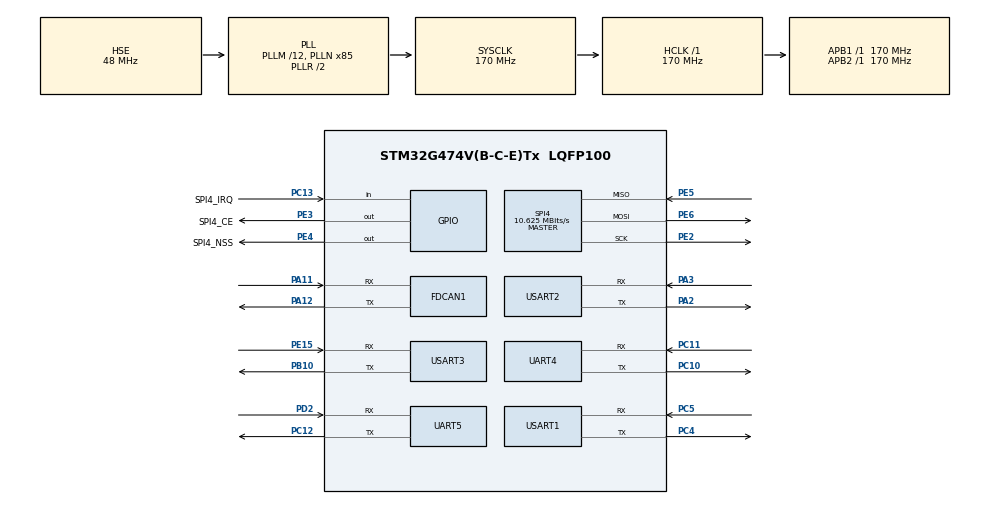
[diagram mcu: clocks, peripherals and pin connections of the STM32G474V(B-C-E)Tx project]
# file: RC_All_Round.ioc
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Dma.Request0=USART2_RX
Dma.Request1=USART2_TX
Dma.Request2=USART1_RX
Dma.Request3=USART1_TX
Dma.Request4=UART4_RX
Dma.Request5=UART4_TX
Dma.Request6=UART5_RX
Dma.UART4_RX.4.Direction=DMA_PERIPH_TO_MEMORY
Dma.UART4_RX.4.EventEnable=DISABLE
Dma.UART4_RX.4.Instance=DMA1_Channel5
Dma.UART4_RX.4.MemDataAlignment=DMA_MDATAALIGN_BYTE
Dma.UART4_RX.4.MemInc=DMA_MINC_ENABLE
Dma.UART4_RX.4.Mode=DMA_CIRCULAR
Dma.UART4_RX.4.PeriphDataAlignment=DMA_PDATAALIGN_BYTE
Dma.UART4_RX.4.PeriphInc=DMA_PINC_DISABLE
Dma.UART4_RX.4.Polarity=HAL_DMAMUX_REQ_GEN_RISING
Dma.UART4_RX.4.Priority=DMA_PRIORITY_LOW
Dma.UART4_RX.4.RequestNumber=1
Dma.UART4_RX.4.SignalID=NONE
Dma.UART4_RX.4.SyncEnable=DISABLE
Dma.UART4_RX.4.SyncPolarity=HAL_DMAMUX_SYNC_NO_EVENT
Dma.UART4_RX.4.SyncRequestNumber=1
Dma.UART4_RX.4.SyncSignalID=NONE
Dma.UART4_TX.5.Direction=DMA_MEMORY_TO_PERIPH
Dma.UART4_TX.5.EventEnable=DISABLE
Dma.UART4_TX.5.Instance=DMA1_Channel6
Dma.UART4_TX.5.MemDataAlignment=DMA_MDATAALIGN_BYTE
Dma.UART4_TX.5.MemInc=DMA_MINC_ENABLE
Dma.UART4_TX.5.Mode=DMA_NORMAL
Dma.UART4_TX.5.PeriphDataAlignment=DMA_PDATAALIGN_BYTE
Dma.UART4_TX.5.PeriphInc=DMA_PINC_DISABLE
Dma.UART4_TX.5.Polarity=HAL_DMAMUX_REQ_GEN_RISING
Dma.UART4_TX.5.Priority=DMA_PRIORITY_LOW
Dma.UART4_TX.5.RequestNumber=1
Dma.UART4_TX.5.SignalID=NONE
Dma.UART4_TX.5.SyncEnable=DISABLE
Dma.UART4_TX.5.SyncPolarity=HAL_DMAMUX_SYNC_NO_EVENT
Dma.UART4_TX.5.SyncRequestNumber=1
Dma.UART4_TX.5.SyncSignalID=NONE
Dma.UART5_RX.6.Direction=DMA_PERIPH_TO_MEMORY
Dma.UART5_RX.6.EventEnable=DISABLE
Dma.UART5_RX.6.Instance=DMA1_Channel7
Dma.UART5_RX.6.MemDataAlignment=DMA_MDATAALIGN_BYTE
Dma.UART5_RX.6.MemInc=DMA_MINC_ENABLE
Dma.UART5_RX.6.Mode=DMA_CIRCULAR
Dma.UART5_RX.6.PeriphDataAlignment=DMA_PDATAALIGN_BYTE
Dma.UART5_RX.6.PeriphInc=DMA_PINC_DISABLE
Dma.UART5_RX.6.Polarity=HAL_DMAMUX_REQ_GEN_RISING
Dma.UART5_RX.6.Priority=DMA_PRIORITY_LOW
Dma.UART5_RX.6.RequestNumber=1
Dma.UART5_RX.6.SignalID=NONE
Dma.UART5_RX.6.SyncEnable=DISABLE
Dma.UART5_RX.6.SyncPolarity=HAL_DMAMUX_SYNC_NO_EVENT
Dma.UART5_RX.6.SyncRequestNumber=1
Dma.UART5_RX.6.SyncSignalID=NONE
Dma.USART1_RX.2.Direction=DMA_PERIPH_TO_MEMORY
Dma.USART1_RX.2.EventEnable=DISABLE
Dma.USART1_RX.2.Instance=DMA1_Channel1
Dma.USART1_RX.2.MemDataAlignment=DMA_MDATAALIGN_BYTE
Dma.USART1_RX.2.MemInc=DMA_MINC_ENABLE
Dma.USART1_RX.2.Mode=DMA_CIRCULAR
Dma.USART1_RX.2.PeriphDataAlignment=DMA_PDATAALIGN_BYTE
Dma.USART1_RX.2.PeriphInc=DMA_PINC_DISABLE
Dma.USART1_RX.2.Polarity=HAL_DMAMUX_REQ_GEN_RISING
Dma.USART1_RX.2.Priority=DMA_PRIORITY_LOW
Dma.USART1_RX.2.RequestNumber=1
Dma.USART1_RX.2.SignalID=NONE
Dma.USART1_RX.2.SyncEnable=DISABLE
Dma.USART1_RX.2.SyncPolarity=HAL_DMAMUX_SYNC_NO_EVENT
Dma.USART1_RX.2.SyncRequestNumber=1
Dma.USART1_RX.2.SyncSignalID=NONE
Dma.USART1_TX.3.Direction=DMA_MEMORY_TO_PERIPH
Dma.USART1_TX.3.EventEnable=DISABLE
Dma.USART1_TX.3.Instance=DMA1_Channel2
Dma.USART1_TX.3.MemDataAlignment=DMA_MDATAALIGN_BYTE
Dma.USART1_TX.3.MemInc=DMA_MINC_ENABLE
Dma.USART1_TX.3.Mode=DMA_NORMAL
Dma.USART1_TX.3.PeriphDataAlignment=DMA_PDATAALIGN_BYTE
Dma.USART1_TX.3.PeriphInc=DMA_PINC_DISABLE
Dma.USART1_TX.3.Polarity=HAL_DMAMUX_REQ_GEN_RISING
Dma.USART1_TX.3.Priority=DMA_PRIORITY_LOW
Dma.USART1_TX.3.RequestNumber=1
Dma.USART1_TX.3.SignalID=NONE
Dma.USART1_TX.3.SyncEnable=DISABLE
Dma.USART1_TX.3.SyncPolarity=HAL_DMAMUX_SYNC_NO_EVENT
Dma.USART1_TX.3.SyncRequestNumber=1
Dma.USART1_TX.3.SyncSignalID=NONE
Dma.USART2_RX.0.Direction=DMA_PERIPH_TO_MEMORY
Dma.USART2_RX.0.EventEnable=DISABLE
Dma.USART2_RX.0.Instance=DMA1_Channel3
Dma.USART2_RX.0.MemDataAlignment=DMA_MDATAALIGN_BYTE
Dma.USART2_RX.0.MemInc=DMA_MINC_ENABLE
Dma.USART2_RX.0.Mode=DMA_CIRCULAR
Dma.USART2_RX.0.PeriphDataAlignment=DMA_PDATAALIGN_BYTE
Dma.USART2_RX.0.PeriphInc=DMA_PINC_DISABLE
Dma.USART2_RX.0.Polarity=HAL_DMAMUX_REQ_GEN_RISING
Dma.USART2_RX.0.Priority=DMA_PRIORITY_LOW
Dma.USART2_RX.0.RequestNumber=1
Dma.USART2_RX.0.SignalID=NONE
Dma.USART2_RX.0.SyncEnable=DISABLE
Dma.USART2_RX.0.SyncPolarity=HAL_DMAMUX_SYNC_NO_EVENT
Dma.USART2_RX.0.SyncRequestNumber=1
Dma.USART2_RX.0.SyncSignalID=NONE
Dma.USART2_TX.1.Direction=DMA_MEMORY_TO_PERIPH
Dma.USART2_TX.1.EventEnable=DISABLE
Dma.USART2_TX.1.Instance=DMA1_Channel4
Dma.USART2_TX.1.MemDataAlignment=DMA_MDATAALIGN_BYTE
Dma.USART2_TX.1.MemInc=DMA_MINC_ENABLE
Dma.USART2_TX.1.Mode=DMA_NORMAL
Dma.USART2_TX.1.PeriphDataAlignment=DMA_PDATAALIGN_BYTE
Dma.USART2_TX.1.PeriphInc=DMA_PINC_DISABLE
Dma.USART2_TX.1.Polarity=HAL_DMAMUX_REQ_GEN_RISING
Dma.USART2_TX.1.Priority=DMA_PRIORITY_LOW
Dma.USART2_TX.1.RequestNumber=1
Dma.USART2_TX.1.SignalID=NONE
Dma.USART2_TX.1.SyncEnable=DISABLE
Dma.USART2_TX.1.SyncPolarity=HAL_DMAMUX_SYNC_NO_EVENT
Dma.USART2_TX.1.SyncRequestNumber=1
Dma.USART2_TX.1.SyncSignalID=NONE
FDCAN1.CalculateBaudRateNominal=1000000
FDCAN1.CalculateTimeBitNominal=1000
FDCAN1.CalculateTimeQuantumNominal=100.0
FDCAN1.DataPrescaler=17
FDCAN1.DataTimeSeg1=6
FDCAN1.DataTimeSeg2=3
FDCAN1.ExtFiltersNbr=8
FDCAN1.NominalPrescaler=17
FDCAN1.NominalTimeSeg1=6
FDCAN1.NominalTimeSeg2=3
FDCAN1.StdFiltersNbr=8
FREERTOS.Tasks01=defaultTask,24,128,StartDefaultTask,Default,NULL,Dynamic,NULL,NULL;DataFusionTask,8,128,data_fusion,Default,NULL,Dynamic,NULL,NULL;ROBOMOVTASK,40,128,robo_mov,Default,NULL,Dynamic,NULL,NULL;SETTARGETTASK,8,128,set_target,Default,NULL,Dynamic,NULL,NULL;PID_Task,32,128,pid_task,Default,NULL,Dynamic,NULL,NULL;Uart_Tx,24,128,uart_tx_task,Default,NULL,Dynamic,NULL,NULL;NRFTASK,24,512,nrftask,Default,NULL,Dynamic,NULL,NULL
FREERTOS.configENABLE_FPU=1
FREERTOS.configTOTAL_HEAP_SIZE=25552
FREERTOS.configUSE_NEWLIB_REENTRANT=1
Mcu.Family=STM32G4
Mcu.Name=STM32G474V(B-C-E)Tx
Mcu.Package=LQFP100
NVIC.DMA1_Channel1_IRQn=true\:5\:0\:false\:false\:true\:true\:false\:true\:true
NVIC.DMA1_Channel2_IRQn=true\:5\:0\:false\:false\:true\:true\:false\:true\:true
NVIC.DMA1_Channel3_IRQn=true\:5\:0\:false\:false\:true\:true\:false\:true\:true
NVIC.DMA1_Channel4_IRQn=true\:5\:0\:false\:false\:true\:true\:false\:true\:true
NVIC.DMA1_Channel5_IRQn=true\:5\:0\:false\:false\:true\:true\:false\:true\:true
NVIC.DMA1_Channel6_IRQn=true\:5\:0\:false\:false\:true\:true\:false\:true\:true
NVIC.DMA1_Channel7_IRQn=true\:5\:0\:false\:false\:true\:true\:false\:true\:true
NVIC.FDCAN1_IT0_IRQn=true\:5\:0\:true\:false\:true\:true\:true\:true\:true
NVIC.FDCAN1_IT1_IRQn=true\:5\:0\:true\:false\:true\:true\:true\:true\:true
NVIC.PriorityGroup=NVIC_PRIORITYGROUP_4
NVIC.TIM3_IRQn=true\:5\:0\:false\:false\:true\:true\:true\:true\:true
NVIC.TIM4_IRQn=true\:15\:0\:false\:false\:true\:false\:false\:true\:true
NVIC.TimeBase=TIM4_IRQn
NVIC.TimeBaseIP=TIM4
NVIC.UART4_IRQn=true\:5\:0\:false\:false\:true\:true\:true\:true\:true
NVIC.UART5_IRQn=true\:5\:0\:false\:false\:true\:true\:true\:true\:true
NVIC.USART1_IRQn=true\:5\:0\:false\:false\:true\:true\:true\:true\:true
NVIC.USART2_IRQn=true\:5\:0\:false\:false\:true\:true\:true\:true\:true
NVIC.USART3_IRQn=true\:5\:0\:false\:false\:true\:true\:true\:true\:true
PA11.Mode=FDCAN_Activate
PA11.Signal=FDCAN1_RX
PA12.Mode=FDCAN_Activate
PA12.Signal=FDCAN1_TX
PA13.Mode=Serial_Wire
PA13.Signal=SYS_JTMS-SWDIO
PA14.Mode=Serial_Wire
PA14.Signal=SYS_JTCK-SWCLK
PA2.Mode=Asynchronous
PA2.Signal=USART2_TX
PA3.Mode=Asynchronous
PA3.Signal=USART2_RX
PB10.Mode=Asynchronous
PB10.Signal=USART3_TX
PC10.Mode=Asynchronous
PC10.Signal=UART4_TX
PC11.Mode=Asynchronous
PC11.Signal=UART4_RX
PC12.Mode=Asynchronous
PC12.Signal=UART5_TX
PC13.GPIO_Label=SPI4_IRQ
PC13.Signal=GPIO_Input
PC4.Mode=Asynchronous
PC4.Signal=USART1_TX
PC5.Mode=Asynchronous
PC5.Signal=USART1_RX
PD2.Mode=Asynchronous
PD2.Signal=UART5_RX
PE15.Mode=Asynchronous
PE15.Signal=USART3_RX
PE2.Mode=Full_Duplex_Master
PE2.Signal=SPI4_SCK
PE3.GPIO_Label=SPI4_CE
PE3.GPIO_Speed=GPIO_SPEED_FREQ_HIGH
PE3.Signal=GPIO_Output
PE4.GPIO_Label=SPI4_NSS
PE4.GPIO_Speed=GPIO_SPEED_FREQ_HIGH
PE4.Signal=GPIO_Output
PE5.Mode=Full_Duplex_Master
PE5.Signal=SPI4_MISO
PE6.Mode=Full_Duplex_Master
PE6.Signal=SPI4_MOSI
PF0-OSC_IN.Mode=HSE-External-Oscillator
PF0-OSC_IN.Signal=RCC_OSC_IN
PF1-OSC_OUT.Mode=HSE-External-Oscillator
PF1-OSC_OUT.Signal=RCC_OSC_OUT
ProjectManager.HeapSize=0x200
ProjectManager.StackSize=0x400
ProjectManager.TargetToolchain=STM32CubeIDE
RCC.ADC12Freq_Value=170000000
RCC.ADC345Freq_Value=170000000
RCC.AHBFreq_Value=170000000
RCC.APB1Freq_Value=170000000
RCC.APB1TimFreq_Value=170000000
RCC.APB2Freq_Value=170000000
RCC.APB2TimFreq_Value=170000000
RCC.CortexFreq_Value=170000000
RCC.EXTERNAL_CLOCK_VALUE=12288000
RCC.HCLKFreq_Value=170000000
RCC.HSE_VALUE=48000000
RCC.HSI48_VALUE=48000000
RCC.HSI_VALUE=16000000
RCC.LSE_VALUE=32768
RCC.PLLM=RCC_PLLM_DIV12
RCC.PLLN=85
RCC.PLLSourceVirtual=RCC_PLLSOURCE_HSE
RCC.SYSCLKFreq_VALUE=170000000
RCC.SYSCLKSource=RCC_SYSCLKSOURCE_PLLCLK
RCC.USBFreq_Value=170000000
RCC.VCOOutputFreq_Value=340000000
SPI4.BaudRatePrescaler=SPI_BAUDRATEPRESCALER_16
SPI4.CalculateBaudRate=10.625 MBits/s
SPI4.DataSize=SPI_DATASIZE_8BIT
SPI4.Direction=SPI_DIRECTION_2LINES
SPI4.Mode=SPI_MODE_MASTER
SPI4.VirtualType=VM_MASTER
TIM3.AutoReloadPreload=TIM_AUTORELOAD_PRELOAD_ENABLE
TIM3.PeriodNoDither=999
TIM3.Prescaler=167
USART1.VirtualMode-Asynchronous=VM_ASYNC
USART2.VirtualMode-Asynchronous=VM_ASYNC
USART3.VirtualMode-Asynchronous=VM_ASYNC
VP_FREERTOS_VS_CMSIS_V2.Mode=CMSIS_V2
VP_SYS_VS_DBSignals.Mode=DisableDeadBatterySignals
VP_SYS_VS_tim4.Mode=TIM4
VP_TIM3_VS_ClockSourceINT.Mode=Internal
board=custom

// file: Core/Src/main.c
/* USER CODE BEGIN Header */
/**
  ******************************************************************************
  * @file           : main.c
  * @brief          : Main program body
  ******************************************************************************
  * @attention
  *
  * Copyright (c) 2024 STMicroelectronics.
  * All rights reserved.
  *
  * This software is licensed under terms that can be found in the LICENSE file
  * in the root directory of this software component.
  * If no LICENSE file comes with this software, it is provided AS-IS.
  *
  ******************************************************************************
  */
/* USER CODE END Header */
#include "main.h"
#include "cmsis_os.h"
#include "dma.h"
#include "fdcan.h"
#include "spi.h"
#include "tim.h"
#include "usart.h"
#include "gpio.h"

/* USER CODE BEGIN Includes */
#include "all.h"
#include "debug.h"
#include "NRF24L01.h"
#include "PIDC.H"
/* USER CODE END Includes */

void SystemClock_Config(void);
void MX_FREERTOS_Init(void);

int main(void)
{

  /* MCU Configuration--------------------------------------------------------*/

  /* Reset of all peripherals, Initializes the Flash interface and the Systick. */
  HAL_Init();

  /* Configure the system clock */
  SystemClock_Config();

  /* Initialize all configured peripherals */
  MX_GPIO_Init();
  MX_DMA_Init();
  MX_FDCAN1_Init();
  MX_USART3_UART_Init();
  MX_TIM3_Init();
  MX_USART2_UART_Init();
  MX_USART1_UART_Init();
  MX_UART4_Init();
  MX_UART5_Init();
  MX_SPI4_Init();
  /* USER CODE BEGIN 2 */
  // my_Init();

  //给陀螺仪的复位一定要接在前面
  HAL_Delay(200);
  usart_printf("A");
  usart_printf("A");
  usart_printf("A");
  HAL_Delay(200);

  my_Init();
  PIDC_initialize();
//  while(NRF24L01_Check())//检测错误，return 1
//  {
//    printf("nrf defete\r\n");
//  }
//
//  NRF24L01_RX_Mode();

  /* USER CODE END 2 */

  /* Init scheduler */
  osKernelInitialize();

  /* Call init function for freertos objects (in cmsis_os2.c) */
  MX_FREERTOS_Init();

  /* Start scheduler */
  osKernelStart();

  /* We should never get here as control is now taken by the scheduler */

  /* Infinite loop */
  while (1)
  {

    /* USER CODE BEGIN 3 */
     printf("Hello World!\n");
     HAL_Delay(500);
  }
  /* USER CODE END 3 */
}

void SystemClock_Config(void)
{
  RCC_OscInitTypeDef RCC_OscInitStruct = {0};
  RCC_ClkInitTypeDef RCC_ClkInitStruct = {0};

  /** Configure the main internal regulator output voltage
  */
  HAL_PWREx_ControlVoltageScaling(PWR_REGULATOR_VOLTAGE_SCALE1_BOOST);

  /** Initializes the RCC Oscillators according to the specified parameters
  * in the RCC_OscInitTypeDef structure.
  */
  RCC_OscInitStruct.OscillatorType = RCC_OSCILLATORTYPE_HSE;
  RCC_OscInitStruct.HSEState = RCC_HSE_ON;
  RCC_OscInitStruct.PLL.PLLState = RCC_PLL_ON;
  RCC_OscInitStruct.PLL.PLLSource = RCC_PLLSOURCE_HSE;
  RCC_OscInitStruct.PLL.PLLM = RCC_PLLM_DIV12;
  RCC_OscInitStruct.PLL.PLLN = 85;
  RCC_OscInitStruct.PLL.PLLP = RCC_PLLP_DIV2;
  RCC_OscInitStruct.PLL.PLLQ = RCC_PLLQ_DIV2;
  RCC_OscInitStruct.PLL.PLLR = RCC_PLLR_DIV2;
  if (HAL_RCC_OscConfig(&RCC_OscInitStruct) != HAL_OK)
  {
    Error_Handler();
  }

  /** Initializes the CPU, AHB and APB buses clocks
  */
  RCC_ClkInitStruct.ClockType = RCC_CLOCKTYPE_HCLK|RCC_CLOCKTYPE_SYSCLK
                              |RCC_CLOCKTYPE_PCLK1|RCC_CLOCKTYPE_PCLK2;
  RCC_ClkInitStruct.SYSCLKSource = RCC_SYSCLKSOURCE_PLLCLK;
  RCC_ClkInitStruct.AHBCLKDivider = RCC_SYSCLK_DIV1;
  RCC_ClkInitStruct.APB1CLKDivider = RCC_HCLK_DIV1;
  RCC_ClkInitStruct.APB2CLKDivider = RCC_HCLK_DIV1;

  if (HAL_RCC_ClockConfig(&RCC_ClkInitStruct, FLASH_LATENCY_4) != HAL_OK)
  {
    Error_Handler();
  }
}

void Error_Handler(void)
{
  __disable_irq();
  while (1)
  {
  }
}

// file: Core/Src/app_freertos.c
/* USER CODE BEGIN Header */
/**
  ******************************************************************************
  * File Name          : app_freertos.c
  * Description        : Code for freertos applications
  ******************************************************************************
  * @attention
  *
  * Copyright (c) 2024 STMicroelectronics.
  * All rights reserved.
  *
  * This software is licensed under terms that can be found in the LICENSE file
  * in the root directory of this software component.
  * If no LICENSE file comes with this software, it is provided AS-IS.
  *
  ******************************************************************************
  */
/* USER CODE END Header */

#include "FreeRTOS.h"
#include "task.h"
#include "main.h"
#include "cmsis_os.h"

/* USER CODE BEGIN Includes */
#include "all.h"
#include "data_fusion_task.h"
#include "NRF24L01.h"
#include "debug.h"
#include "set_target.h"
/* USER CODE END Includes */

/* USER CODE BEGIN PD */
double t = 0;

/* USER CODE END PD */

/* USER CODE BEGIN Variables */
TaskHandle_t g_Uart_Tx_taskhandle;
TaskHandle_t g_PID_taskhandle;

SemaphoreHandle_t g_SemaphoreHandle_For_PID;
/* USER CODE END Variables */
/* Definitions for defaultTask */
osThreadId_t defaultTaskHandle;
const osThreadAttr_t defaultTask_attributes = {
  .name = "defaultTask",
  .priority = (osPriority_t) osPriorityNormal,
  .stack_size = 128 * 4
};
/* Definitions for DataFusionTask */
osThreadId_t DataFusionTaskHandle;
const osThreadAttr_t DataFusionTask_attributes = {
  .name = "DataFusionTask",
  .priority = (osPriority_t) osPriorityLow,
  .stack_size = 128 * 4
};
/* Definitions for ROBOMOVTASK */
osThreadId_t ROBOMOVTASKHandle;
const osThreadAttr_t ROBOMOVTASK_attributes = {
  .name = "ROBOMOVTASK",
  .priority = (osPriority_t) osPriorityHigh,
  .stack_size = 128 * 4
};
/* Definitions for SETTARGETTASK */
osThreadId_t SETTARGETTASKHandle;
const osThreadAttr_t SETTARGETTASK_attributes = {
  .name = "SETTARGETTASK",
  .priority = (osPriority_t) osPriorityLow,
  .stack_size = 128 * 4
};
/* Definitions for PID_Task */
osThreadId_t PID_TaskHandle;
const osThreadAttr_t PID_Task_attributes = {
  .name = "PID_Task",
  .priority = (osPriority_t) osPriorityAboveNormal,
  .stack_size = 128 * 4
};
/* Definitions for Uart_Tx */
osThreadId_t Uart_TxHandle;
const osThreadAttr_t Uart_Tx_attributes = {
  .name = "Uart_Tx",
  .priority = (osPriority_t) osPriorityNormal,
  .stack_size = 128 * 4
};
/* Definitions for NRFTASK */
osThreadId_t NRFTASKHandle;
const osThreadAttr_t NRFTASK_attributes = {
  .name = "NRFTASK",
  .priority = (osPriority_t) osPriorityNormal,
  .stack_size = 512 * 4
};

void StartDefaultTask(void *argument);
void data_fusion(void *argument);
void robo_mov(void *argument);
void set_target(void *argument);
void pid_task(void *argument);
void uart_tx_task(void *argument);
void nrftask(void *argument);

void MX_FREERTOS_Init(void); /* (MISRA C 2004 rule 8.1) */

void MX_FREERTOS_Init(void) {

  /* USER CODE BEGIN RTOS_SEMAPHORES */
  /* add semaphores, ... */
    g_SemaphoreHandle_For_PID = xSemaphoreCreateBinary();
  /* USER CODE END RTOS_SEMAPHORES */

  /* Create the thread(s) */
  /* creation of defaultTask */
  defaultTaskHandle = osThreadNew(StartDefaultTask, NULL, &defaultTask_attributes);

  /* creation of DataFusionTask */
  DataFusionTaskHandle = osThreadNew(data_fusion, NULL, &DataFusionTask_attributes);

  /* creation of ROBOMOVTASK */
  ROBOMOVTASKHandle = osThreadNew(robo_mov, NULL, &ROBOMOVTASK_attributes);

  /* creation of SETTARGETTASK */
  SETTARGETTASKHandle = osThreadNew(set_target, NULL, &SETTARGETTASK_attributes);
  vTaskSuspend(SETTARGETTASKHandle);  // ��ǰ�������

  /* creation of PID_Task */
  PID_TaskHandle = osThreadNew(pid_task, NULL, &PID_Task_attributes);

  /* creation of Uart_Tx */
  Uart_TxHandle = osThreadNew(uart_tx_task, NULL, &Uart_Tx_attributes);

  /* creation of NRFTASK */
  // NRFTASKHandle = osThreadNew(nrftask, NULL, &NRFTASK_attributes);

  /* USER CODE BEGIN RTOS_THREADS */
  /* add threads, ... */

  // xTaskCreate(pid_task, "PID_Task", 64, NULL, osPriorityNormal+1, &g_PID_taskhandle);
  // xTaskCreate(uart_tx_task, "Uart_Tx_Task", 64, NULL, osPriorityNormal+1, &g_Uart_Tx_taskhandle);

  /* USER CODE END RTOS_THREADS */

}

void StartDefaultTask(void *argument)
{
  for(;;)
  {
    osDelay(1);
  }
}

void data_fusion(void *argument)
{
  /* USER CODE BEGIN data_fusion */
  portTickType CurrentTime1;

  /* Infinite loop */

  for(;;)
  {
    CurrentTime1=xTaskGetTickCount();

    //usart_printf("%.2f\n\r",locater.continuousAngle);

    data_fusion_radar();

    vTaskDelayUntil(&CurrentTime1,5);

  }
  /* USER CODE END data_fusion */
}

void robo_mov(void *argument)
{
  /* USER CODE BEGIN robo_mov */
  portTickType CurrentTime2;

  /* Infinite loop */
  for(;;)
  {
    CurrentTime2=xTaskGetTickCount();

    RunPoint_straight(Target_point);

    vTaskDelayUntil(&CurrentTime2,10);

  }
  /* USER CODE END robo_mov */
}

void set_target(void *argument)
{
  /* USER CODE BEGIN set_target */
  portTickType CurrentTime3;

  /* Infinite loop */
  for(;;)
  {    CurrentTime3=xTaskGetTickCount();

    BezierCurve(controlPoints, 4, t, &result);
    // deCasteljau(controlPoints1,2,t);
    Target_point.x = result.x;
    Target_point.y = result.y;

    // usart_printf("%.2f,%.2f,%.2f\n\r",Target_point.x,Target_point.y,t);
    Target_point.angle = 0;

    t +=0.01;
    if(t > 1)
    {
      vTaskSuspend(SETTARGETTASKHandle);  // ��ǰ�������
    }
    vTaskDelayUntil(&CurrentTime3,60);

  }
  /* USER CODE END set_target */
}

void pid_task(void *argument)
{
  /* USER CODE BEGIN pid_task */
  portTickType CurrentTime_PID;

   /* Infinite loop */
   for(;;)
   {
     // xSemaphoreTake(g_SemaphoreHandle_For_PID, portMAX_DELAY);
//     printf("pid_task\n\r");
     CurrentTime_PID=xTaskGetTickCount();

     //速度
     current_1=FW_PID_Realize(&pid_speed, Target_Speed_actual_1, gm2006_1.rotor_speed / 36.0);
      current_2=FW_PID_Realize(&pid_speed, Target_Speed_actual_2, gm2006_2.rotor_speed / 36.0);
      current_3=FW_PID_Realize(&pid_speed, Target_Speed_actual_3, gm2006_3.rotor_speed / 36.0);
      current_4=FW_PID_Realize(&pid_speed, Target_Speed_actual_4, gm2006_4.rotor_speed / 36.0);
     //角度�?

     //发�?�电机can控制信号
     GM2006_Current_Set(&hfdcan1, current_1, current_2, current_3, current_4, 0x200, GM_ID(1) | GM_ID(2)| GM_ID(3)|GM_ID(4));
     vTaskDelayUntil(&CurrentTime_PID,5);

   }
  /* USER CODE END pid_task */
}

/* USER CODE BEGIN Header_uart_tx_task */
// // /**
// // * @brief Function implementing the Uart_Tx thread.
// // * @param argument: Not used
// // * @retval None
// // */
/* USER CODE END Header_uart_tx_task */
void uart_tx_task(void *argument)
{
  /* USER CODE BEGIN uart_tx_task */
  portTickType CurrentTime3;

   /* Infinite loop */
   for(;;)
   {
     CurrentTime3=xTaskGetTickCount();

    // printf("%.1f,%.1f,%.2f,%.2f,%.2f,%.2f\n\r",radar_data.pos_x,radar_data.pos_y,radar_data.total_angle,locater.pos_x,locater.pos_y,locater.continuousAngle);
    // printf("%d,%.2f\n\r",0,dis);
     // printf("%.2f,%.2f\n\r",Target_point.angle,locater.continuousAngle);
//     printf("%.2f,%.2f,%.2f,%.2f,%.2f,%.2f\n\r",Target_point.x,locater.pos_x,PID_POINT_y.kp,Target_point.y,locater.pos_y,locater.continuousAngle);

    // printf("gasgjh:%d,%.2f,%.2f,%.2f,%.2f\n\r",1,Target_point.x,radar_data.pos_x,Target_Speed_1,gm2006_1.rotor_speed / 36.0);

     usart_printf("gasgjh:%d,%.2f,%.2f,%.2f,%.2f,%.2f,%.2f\n\r",1,Target_point.x,radar_data.pos_x,Target_point.y,radar_data.pos_y,Target_point.angle,radar_data.total_angle);
// printf("%.2f,%.2f\n\r",Target_Speed_1,gm2006_1.rotor_speed / 36.0);

     // printf("gasgjh:%d,%.2f,%.2f\n\r",1,Target_point.angle,radar_data.total_angle);
     vTaskDelayUntil(&CurrentTime3,50);

     //printf("%.2f,%.2f,%.2f\n\r",locater.pos_x,locater.pos_y,locater.continuousAngle);
   }
  /* USER CODE END uart_tx_task */
}

void nrftask(void *argument)
{
  /* USER CODE BEGIN nrftask */
  portTickType CurrentTime4;

  /* Infinite loop */
  for(;;)
  {
    CurrentTime4=xTaskGetTickCount();
    static int flag=10;

    if (NRF24L01_RxPacket(Speed_PS_Rece_Buf) == 0) {

    }

    control_data.L_X=Speed_PS_Rece_Buf[0];
    control_data.L_Y=Speed_PS_Rece_Buf[1];
    control_data.R_X=Speed_PS_Rece_Buf[2];
    control_data.R_Y=Speed_PS_Rece_Buf[3];

    printf("%d,%d,%d,%d\n\r",control_data.L_X,control_data.L_Y,control_data.R_X,control_data.R_Y);

    vTaskDelayUntil(&CurrentTime4,10);
  }
  /* USER CODE END nrftask */
}
